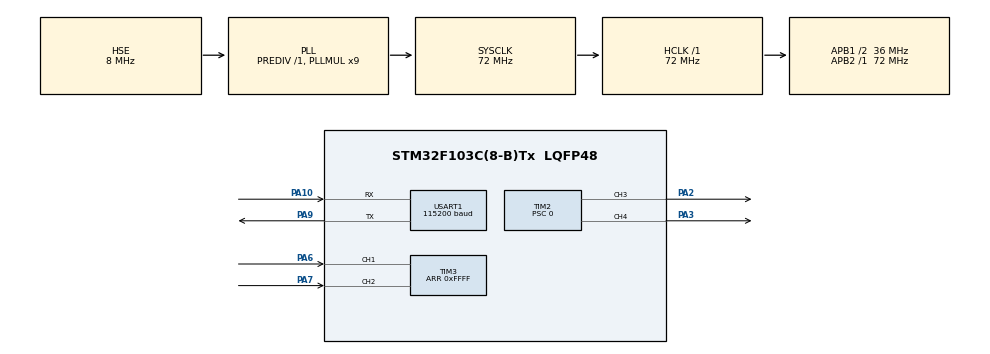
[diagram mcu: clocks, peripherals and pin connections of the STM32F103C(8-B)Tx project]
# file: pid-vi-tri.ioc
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Mcu.Family=STM32F1
Mcu.Name=STM32F103C(8-B)Tx
Mcu.Package=LQFP48
NVIC.PriorityGroup=NVIC_PRIORITYGROUP_4
NVIC.TIM1_BRK_IRQn=true\:0\:0\:false\:false\:true\:true\:true
NVIC.TIM1_CC_IRQn=true\:0\:0\:false\:false\:true\:true\:true
NVIC.TIM1_TRG_COM_IRQn=true\:0\:0\:false\:false\:true\:true\:true
NVIC.TIM1_UP_IRQn=true\:0\:0\:false\:false\:true\:true\:true
NVIC.TIM3_IRQn=true\:0\:0\:false\:false\:true\:true\:true
NVIC.USART1_IRQn=true\:0\:0\:false\:true\:true\:1\:true\:true
PA10.Mode=Asynchronous
PA10.Signal=USART1_RX
PA13.Mode=Serial_Wire
PA13.Signal=SYS_JTMS-SWDIO
PA14.Mode=Serial_Wire
PA14.Signal=SYS_JTCK-SWCLK
PA2.Signal=S_TIM2_CH3
PA3.Signal=S_TIM2_CH4
PA6.GPIO_PuPd=GPIO_NOPULL
PA6.Signal=S_TIM3_CH1
PA7.GPIO_PuPd=GPIO_NOPULL
PA7.Signal=S_TIM3_CH2
PA9.Mode=Asynchronous
PA9.Signal=USART1_TX
PD0-OSC_IN.Mode=HSE-External-Oscillator
PD0-OSC_IN.Signal=RCC_OSC_IN
PD1-OSC_OUT.Mode=HSE-External-Oscillator
PD1-OSC_OUT.Signal=RCC_OSC_OUT
ProjectManager.HeapSize=0x200
ProjectManager.StackSize=0x400
ProjectManager.TargetToolchain=MDK-ARM V5.27
RCC.AHBFreq_Value=72000000
RCC.APB1CLKDivider=RCC_HCLK_DIV2
RCC.APB1Freq_Value=36000000
RCC.APB1TimFreq_Value=72000000
RCC.APB2Freq_Value=72000000
RCC.APB2TimFreq_Value=72000000
RCC.HCLKFreq_Value=72000000
RCC.PLLMUL=RCC_PLL_MUL9
RCC.PLLSourceVirtual=RCC_PLLSOURCE_HSE
RCC.SYSCLKFreq_VALUE=72000000
RCC.SYSCLKSource=RCC_SYSCLKSOURCE_PLLCLK
RCC.USBFreq_Value=72000000
SH.S_TIM2_CH3.0=TIM2_CH3,PWM Generation3 CH3
SH.S_TIM2_CH4.0=TIM2_CH4,PWM Generation4 CH4
SH.S_TIM3_CH1.0=TIM3_CH1,Encoder_Interface
SH.S_TIM3_CH2.0=TIM3_CH2,Encoder_Interface
TIM1.Period=999
TIM1.Prescaler=71
TIM2.Channel-PWM\ Generation3\ CH3=TIM_CHANNEL_3
TIM2.Channel-PWM\ Generation4\ CH4=TIM_CHANNEL_4
TIM2.Period=3599
TIM2.Prescaler=0
TIM3.EncoderMode=TIM_ENCODERMODE_TI12
TIM3.IC1Filter=15
TIM3.IC1Polarity=TIM_ICPOLARITY_FALLING
TIM3.IC2Filter=15
TIM3.IC2Polarity=TIM_ICPOLARITY_FALLING
TIM3.Period=0xFFFF
USART1.BaudRate=115200
USART1.Parity=PARITY_NONE
USART1.StopBits=STOPBITS_1
USART1.VirtualMode=VM_ASYNC
USART1.WordLength=WORDLENGTH_8B
VP_TIM1_VS_ClockSourceINT.Mode=Internal
board=custom

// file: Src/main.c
/* USER CODE BEGIN Header */
/**
  ******************************************************************************
  * @file           : main.c
  * @brief          : Main program body
  ******************************************************************************
  * @attention
  *
  * <h2><center>&copy; Copyright (c) 2019 STMicroelectronics.
  * All rights reserved.</center></h2>
  *
  * This software component is licensed by ST under BSD 3-Clause license,
  * the "License"; You may not use this file except in compliance with the
  * License. You may obtain a copy of the License at:
  *                        opensource.org/licenses/BSD-3-Clause
  *
  ******************************************************************************
  */
/* USER CODE END Header */

#include "main.h"

/* USER CODE BEGIN Includes */
#include "math.h"
#include "stdlib.h"
/* USER CODE END Includes */

/* USER CODE BEGIN PM */
#define Address 0
#define enc TIM3-> CNT
#define Speed_Forward 1
#define Speed_Direction 2
#define Position_Forward 3
#define Position_Direction 4

/* USER CODE END PM */

TIM_HandleTypeDef htim1;
TIM_HandleTypeDef htim2;
TIM_HandleTypeDef htim3;

UART_HandleTypeDef huart1;

/* USER CODE BEGIN PV */

int16_t debug;
uint8_t mode;
uint16_t setpoint;
uint16_t Kp;
uint8_t Ki;
float Kd;

char SignalControl[30];

int8_t flagPID = 0;
int8_t flagPIDposition = 1;
int8_t flagUART = 0;

int16_t outPID;
int16_t outPID1;
int16_t encoder = 0;
int16_t Tim2Period;
float speed;
float T;
float anpha;
float beta;
float gama;
float delta;
float deltaPWM;
float e;
float e1;
float e2;

/* USER CODE END PV */

void SystemClock_Config(void);
static void MX_GPIO_Init(void);
static void MX_TIM2_Init(void);
static void MX_TIM3_Init(void);
static void MX_TIM1_Init(void);
static void MX_USART1_UART_Init(void);
static void MX_NVIC_Init(void);

/* USER CODE BEGIN 0 */
void PID_init()
{
	Tim2Period = 3599;
	T = 0.001;
	deltaPWM = (float)(Tim2Period*0.3)/100;
}
void OutPWM(int16_t duty)
{
	if (duty >= (Tim2Period - deltaPWM))
		duty = Tim2Period - deltaPWM;
	else if (duty <= -(Tim2Period - deltaPWM))
		duty = -(Tim2Period - deltaPWM);
	if (duty > 0){
		__HAL_TIM_SET_COMPARE(&htim2, TIM_CHANNEL_3, Tim2Period - duty);
		__HAL_TIM_SET_COMPARE(&htim2, TIM_CHANNEL_4, Tim2Period);
	}
	else{
		__HAL_TIM_SET_COMPARE(&htim2, TIM_CHANNEL_3, Tim2Period);
		__HAL_TIM_SET_COMPARE(&htim2, TIM_CHANNEL_4, Tim2Period + duty);
	}
}
void Compute_positionPID(int16_t set, float Kp, float Ki, float Kd)
{
	if(flagPID){
		if(set > 0){
			flagPID = 0;
			anpha = 2*T*Kp + Ki*T*T + 2*Kd;
			beta = T*T*Ki - 4*Kd - 2*T*Kp;
			gama = 2*Kd;
			delta = 2*T;
			e2 = e1;
			e1 = e;
			e = set - encoder;
			outPID1 = outPID;
			outPID = (anpha*e + beta*e1 + gama*e2 + delta*outPID1) / delta;
			OutPWM(outPID);
		}
		else{
			flagPID = 0;
			anpha = 2*T*Kp + Ki*T*T + 2*Kd;
			beta = T*T*Ki - 4*Kd - 2*T*Kp;
			gama = 2*Kd;
			delta = 2*T;
			e2 = e1;
			e1 = e;
			e = -(set - encoder);
			outPID1 = outPID;
			outPID = (anpha*e + beta*e1 + gama*e2 + delta*outPID1) / delta;
			OutPWM(-outPID);
		}
	}
}

void speedPID(float set, float Kp, float Ki, float Kd)
{
	if(flagPID){
		if(set > 0){
			flagPID = 0;
			anpha = 2*T*Kp + Ki*T*T + 2*Kd;
			beta = T*T*Ki - 4*Kd - 2*T*Kp;
			gama = 2*Kd;
			delta = 2*T;
			e2 = e1;
			e1 = e;
			e = set - encoder;
			enc = 0;
			outPID1 = outPID;
			outPID = (anpha*e + beta*e1 + gama*e2 + delta*outPID1) / delta;
			OutPWM(outPID);
		}
		else{
			flagPID = 0;
			anpha = 2*T*Kp + Ki*T*T + 2*Kd;
			beta = T*T*Ki - 4*Kd - 2*T*Kp;
			gama = 2*Kd;
			delta = 2*T;
			e2 = e1;
			e1 = e;
			e = -(set - encoder);
			speed = (encoder * 1000) / 400;
			enc = 0;
			outPID1 = outPID;
			outPID = (anpha*e + beta*e1 + gama*e2 + delta*outPID1) / delta;
			OutPWM(-outPID);
		}
	}
}

void positionPID(int16_t set)
{
	if(set > 0){
		if((encoder < set - 400) && (flagPIDposition == 1))
			OutPWM(3600);
		else if (flagPIDposition == 1)
			flagPIDposition = 2;
		if(flagPIDposition == 2){
			flagPIDposition = 3;
			enc = 0;
		}
		if(flagPIDposition == 3){
			Compute_positionPID(400, 11, 2, 0.8);
		}
	}
	else{
		if((-encoder < (-set) - 400) && (flagPIDposition == 1))
			OutPWM(-3600);
		else if (flagPIDposition == 1)
			flagPIDposition = 2;
		if(flagPIDposition == 2){
			flagPIDposition = 3;
			enc = 0;
		}
		if(flagPIDposition == 3){
			Compute_positionPID(-400, 11, 2, 0.8);
		}
	}
}

void resetPID()
{
	enc = 0;
	encoder = 0;
	e = 0;
	e1 = 0;
	e2 = 0;
	outPID1 = 0;
	outPID = 0;
}

void RefeshSignal()
{
	if (flagUART)
	{
		flagUART = 0;
		if ( Address < 3)
		{
			mode = SignalControl[Address*7];

			setpoint = SignalControl[Address*7 + 2];
			setpoint = setpoint << 8;
			setpoint = setpoint + SignalControl[Address*7 + 1];

			Kp = SignalControl[Address*7 + 4];
			Kp = Kp << 8;
			Kp = Kp + SignalControl[Address*7 + 3];

			Ki = SignalControl[Address*7 + 5];
			Kd = SignalControl[Address*7 + 6];
			Kd = Kd/100;
		}
		else
		{
			mode = SignalControl[(Address+4)*3];

			setpoint = SignalControl[(Address+4)*3+2];
			setpoint = setpoint << 8;
			setpoint = setpoint + SignalControl[(Address+4)*3+1];

			Kp = 0;
			Ki = 0;
			Kd = 0;
		}
	}
}
/* USER CODE END 0 */

int main(void)
{

  /* MCU Configuration--------------------------------------------------------*/

  /* Reset of all peripherals, Initializes the Flash interface and the Systick. */
  HAL_Init();

  /* Configure the system clock */
  SystemClock_Config();

  /* Initialize all configured peripherals */
  MX_GPIO_Init();
  MX_TIM2_Init();
  MX_TIM3_Init();
  MX_TIM1_Init();
  MX_USART1_UART_Init();

  /* Initialize interrupts */
  MX_NVIC_Init();
  /* USER CODE BEGIN 2 */
	HAL_UART_Receive_IT(&huart1, (uint8_t*)SignalControl, 30);
	PID_init();
	HAL_TIM_PWM_Start(&htim2, TIM_CHANNEL_3);
	HAL_TIM_PWM_Start(&htim2, TIM_CHANNEL_4);
	HAL_TIM_Encoder_Start(&htim3,TIM_CHANNEL_3|TIM_CHANNEL_4);
	HAL_TIM_Base_Start_IT(&htim1);
	//hal_tim_pwm_

  /* USER CODE END 2 */

  /* Infinite loop */
  /* USER CODE BEGIN WHILE */
  while (1)
  {
		/* main code*/
//		RefeshSignal();
//		if(mode == Position_Forward)
//			positionPID(setpoint);
//		else if (mode == Position_Direction)
//			positionPID(-setpoint);
//		else if (mode == Speed_Forward)
//			speedPID(setpoint, Kp, Ki, Kd);
//		else if(mode == Speed_Direction)
//			speedPID(-setpoint, Kp, Ki, Kd);

    /* USER CODE END WHILE */

  }
}

void SystemClock_Config(void)
{
  RCC_OscInitTypeDef RCC_OscInitStruct = {0};
  RCC_ClkInitTypeDef RCC_ClkInitStruct = {0};

  /** Initializes the CPU, AHB and APB busses clocks
  */
  RCC_OscInitStruct.OscillatorType = RCC_OSCILLATORTYPE_HSE;
  RCC_OscInitStruct.HSEState = RCC_HSE_ON;
  RCC_OscInitStruct.HSEPredivValue = RCC_HSE_PREDIV_DIV1;
  RCC_OscInitStruct.HSIState = RCC_HSI_ON;
  RCC_OscInitStruct.PLL.PLLState = RCC_PLL_ON;
  RCC_OscInitStruct.PLL.PLLSource = RCC_PLLSOURCE_HSE;
  RCC_OscInitStruct.PLL.PLLMUL = RCC_PLL_MUL9;
  if (HAL_RCC_OscConfig(&RCC_OscInitStruct) != HAL_OK)
  {
    Error_Handler();
  }
  /** Initializes the CPU, AHB and APB busses clocks
  */
  RCC_ClkInitStruct.ClockType = RCC_CLOCKTYPE_HCLK|RCC_CLOCKTYPE_SYSCLK
                              |RCC_CLOCKTYPE_PCLK1|RCC_CLOCKTYPE_PCLK2;
  RCC_ClkInitStruct.SYSCLKSource = RCC_SYSCLKSOURCE_PLLCLK;
  RCC_ClkInitStruct.AHBCLKDivider = RCC_SYSCLK_DIV1;
  RCC_ClkInitStruct.APB1CLKDivider = RCC_HCLK_DIV2;
  RCC_ClkInitStruct.APB2CLKDivider = RCC_HCLK_DIV1;

  if (HAL_RCC_ClockConfig(&RCC_ClkInitStruct, FLASH_LATENCY_2) != HAL_OK)
  {
    Error_Handler();
  }
}

/**
  * @brief NVIC Configuration.
  * @retval None
  */
static void MX_NVIC_Init(void)
{
  /* USART1_IRQn interrupt configuration */
  HAL_NVIC_SetPriority(USART1_IRQn, 0, 0);
  HAL_NVIC_EnableIRQ(USART1_IRQn);
}

static void MX_TIM1_Init(void)
{

  TIM_ClockConfigTypeDef sClockSourceConfig = {0};
  TIM_MasterConfigTypeDef sMasterConfig = {0};

  htim1.Instance = TIM1;
  htim1.Init.Prescaler = 71;
  htim1.Init.CounterMode = TIM_COUNTERMODE_UP;
  htim1.Init.Period = 999;
  htim1.Init.ClockDivision = TIM_CLOCKDIVISION_DIV1;
  htim1.Init.RepetitionCounter = 0;
  htim1.Init.AutoReloadPreload = TIM_AUTORELOAD_PRELOAD_DISABLE;
  if (HAL_TIM_Base_Init(&htim1) != HAL_OK)
  {
    Error_Handler();
  }
  sClockSourceConfig.ClockSource = TIM_CLOCKSOURCE_INTERNAL;
  if (HAL_TIM_ConfigClockSource(&htim1, &sClockSourceConfig) != HAL_OK)
  {
    Error_Handler();
  }
  sMasterConfig.MasterOutputTrigger = TIM_TRGO_RESET;
  sMasterConfig.MasterSlaveMode = TIM_MASTERSLAVEMODE_DISABLE;
  if (HAL_TIMEx_MasterConfigSynchronization(&htim1, &sMasterConfig) != HAL_OK)
  {
    Error_Handler();
  }

}

static void MX_TIM2_Init(void)
{

  TIM_MasterConfigTypeDef sMasterConfig = {0};
  TIM_OC_InitTypeDef sConfigOC = {0};

  htim2.Instance = TIM2;
  htim2.Init.Prescaler = 0;
  htim2.Init.CounterMode = TIM_COUNTERMODE_UP;
  htim2.Init.Period = 3599;
  htim2.Init.ClockDivision = TIM_CLOCKDIVISION_DIV1;
  htim2.Init.AutoReloadPreload = TIM_AUTORELOAD_PRELOAD_DISABLE;
  if (HAL_TIM_PWM_Init(&htim2) != HAL_OK)
  {
    Error_Handler();
  }
  sMasterConfig.MasterOutputTrigger = TIM_TRGO_RESET;
  sMasterConfig.MasterSlaveMode = TIM_MASTERSLAVEMODE_DISABLE;
  if (HAL_TIMEx_MasterConfigSynchronization(&htim2, &sMasterConfig) != HAL_OK)
  {
    Error_Handler();
  }
  sConfigOC.OCMode = TIM_OCMODE_PWM1;
  sConfigOC.Pulse = 0;
  sConfigOC.OCPolarity = TIM_OCPOLARITY_HIGH;
  sConfigOC.OCFastMode = TIM_OCFAST_DISABLE;
  if (HAL_TIM_PWM_ConfigChannel(&htim2, &sConfigOC, TIM_CHANNEL_3) != HAL_OK)
  {
    Error_Handler();
  }
  if (HAL_TIM_PWM_ConfigChannel(&htim2, &sConfigOC, TIM_CHANNEL_4) != HAL_OK)
  {
    Error_Handler();
  }
  HAL_TIM_MspPostInit(&htim2);

}

static void MX_TIM3_Init(void)
{

  TIM_Encoder_InitTypeDef sConfig = {0};
  TIM_MasterConfigTypeDef sMasterConfig = {0};

  htim3.Instance = TIM3;
  htim3.Init.Prescaler = 0;
  htim3.Init.CounterMode = TIM_COUNTERMODE_UP;
  htim3.Init.Period = 0xFFFF;
  htim3.Init.ClockDivision = TIM_CLOCKDIVISION_DIV1;
  htim3.Init.AutoReloadPreload = TIM_AUTORELOAD_PRELOAD_DISABLE;
  sConfig.EncoderMode = TIM_ENCODERMODE_TI12;
  sConfig.IC1Polarity = TIM_ICPOLARITY_FALLING;
  sConfig.IC1Selection = TIM_ICSELECTION_DIRECTTI;
  sConfig.IC1Prescaler = TIM_ICPSC_DIV1;
  sConfig.IC1Filter = 15;
  sConfig.IC2Polarity = TIM_ICPOLARITY_FALLING;
  sConfig.IC2Selection = TIM_ICSELECTION_DIRECTTI;
  sConfig.IC2Prescaler = TIM_ICPSC_DIV1;
  sConfig.IC2Filter = 15;
  if (HAL_TIM_Encoder_Init(&htim3, &sConfig) != HAL_OK)
  {
    Error_Handler();
  }
  sMasterConfig.MasterOutputTrigger = TIM_TRGO_RESET;
  sMasterConfig.MasterSlaveMode = TIM_MASTERSLAVEMODE_DISABLE;
  if (HAL_TIMEx_MasterConfigSynchronization(&htim3, &sMasterConfig) != HAL_OK)
  {
    Error_Handler();
  }

}

static void MX_USART1_UART_Init(void)
{

  huart1.Instance = USART1;
  huart1.Init.BaudRate = 115200;
  huart1.Init.WordLength = UART_WORDLENGTH_8B;
  huart1.Init.StopBits = UART_STOPBITS_1;
  huart1.Init.Parity = UART_PARITY_NONE;
  huart1.Init.Mode = UART_MODE_TX_RX;
  huart1.Init.HwFlowCtl = UART_HWCONTROL_NONE;
  huart1.Init.OverSampling = UART_OVERSAMPLING_16;
  if (HAL_UART_Init(&huart1) != HAL_OK)
  {
    Error_Handler();
  }

}

static void MX_GPIO_Init(void)
{

  /* GPIO Ports Clock Enable */
  __HAL_RCC_GPIOD_CLK_ENABLE();
  __HAL_RCC_GPIOA_CLK_ENABLE();

}

/* USER CODE BEGIN 4 */

void HAL_TIM_PeriodElapsedCallback(TIM_HandleTypeDef *htim)
{
	if(htim->Instance == htim1.Instance)
	{
		flagPID = 1;
		encoder = enc;
	}
}

void HAL_UART_RxCpltCallback(UART_HandleTypeDef *huart)
{
	if(huart->Instance == huart1.Instance)
	{
		HAL_UART_Receive_IT(&huart1, (uint8_t*)SignalControl, 30);
		flagUART = 1;
		flagPIDposition = 1;
	}
}

/* USER CODE END 4 */

void Error_Handler(void)
{
}

/************************ (C) COPYRIGHT STMicroelectronics *****END OF FILE****/
